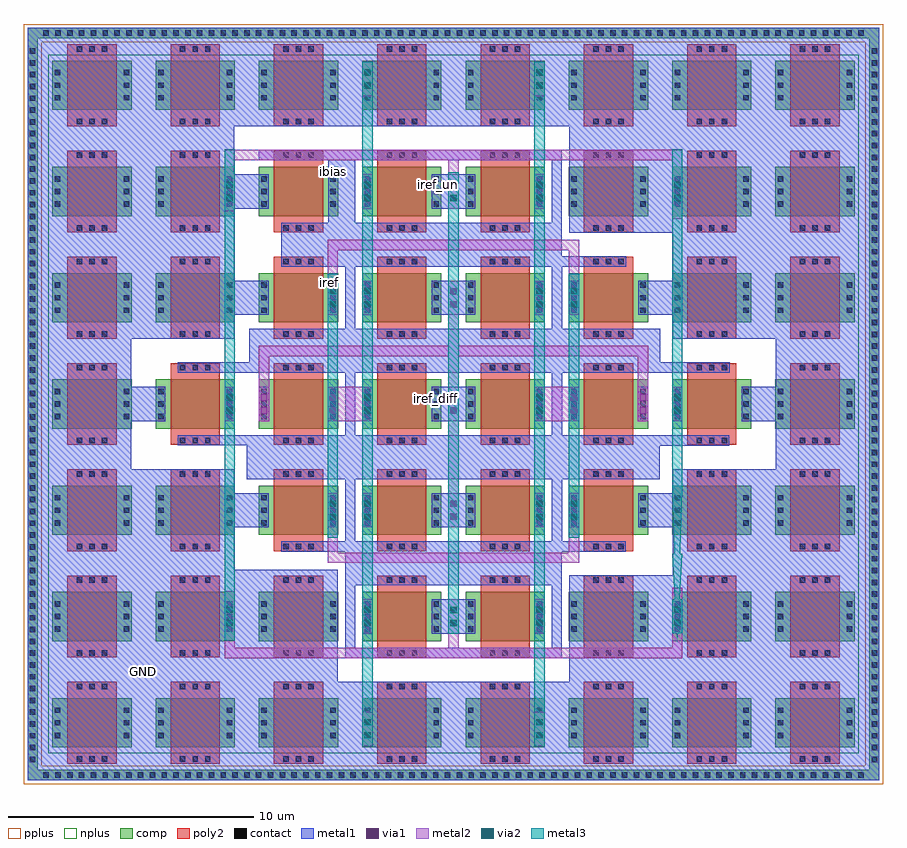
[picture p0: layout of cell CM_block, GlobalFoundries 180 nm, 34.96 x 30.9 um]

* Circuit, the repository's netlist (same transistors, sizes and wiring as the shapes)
** sch_path: /home/gmaranhao/Desktop/Bracolin/Voltage_Reference/LDO/CM_block.sch
.subckt CM_block ibias iref_un iref_diff iref
*.PININFO ibias:B iref:B iref_un:B iref_diff:B
M4[1] iref_un ibias GND GND nfet_03v3 L=2u W=2u nf=1 m=1
M4[2] iref_un ibias GND GND nfet_03v3 L=2u W=2u nf=1 m=1
M4[3] iref_un ibias GND GND nfet_03v3 L=2u W=2u nf=1 m=1
M4[4] iref_un ibias GND GND nfet_03v3 L=2u W=2u nf=1 m=1
M4[5] iref_un ibias GND GND nfet_03v3 L=2u W=2u nf=1 m=1
M4[6] iref_un ibias GND GND nfet_03v3 L=2u W=2u nf=1 m=1
M1[1] iref_diff ibias GND GND nfet_03v3 L=2u W=2u nf=1 m=1
M1[2] iref_diff ibias GND GND nfet_03v3 L=2u W=2u nf=1 m=1
M1[3] iref_diff ibias GND GND nfet_03v3 L=2u W=2u nf=1 m=1
M1[4] iref_diff ibias GND GND nfet_03v3 L=2u W=2u nf=1 m=1
M1[5] iref_diff ibias GND GND nfet_03v3 L=2u W=2u nf=1 m=1
M1[6] iref_diff ibias GND GND nfet_03v3 L=2u W=2u nf=1 m=1
M1[7] iref_diff ibias GND GND nfet_03v3 L=2u W=2u nf=1 m=1
M1[8] iref_diff ibias GND GND nfet_03v3 L=2u W=2u nf=1 m=1
M2[1] iref ibias GND GND nfet_03v3 L=2u W=2u nf=1 m=1
M2[2] iref ibias GND GND nfet_03v3 L=2u W=2u nf=1 m=1
M2[3] iref ibias GND GND nfet_03v3 L=2u W=2u nf=1 m=1
M2[4] iref ibias GND GND nfet_03v3 L=2u W=2u nf=1 m=1
M5 ibias ibias GND GND nfet_03v3 L=2u W=2u nf=1 m=1
M3[1] GND GND GND GND nfet_03v3 L=2u W=2u nf=1 m=1
M3[2] GND GND GND GND nfet_03v3 L=2u W=2u nf=1 m=1
M3[3] GND GND GND GND nfet_03v3 L=2u W=2u nf=1 m=1
M3[4] GND GND GND GND nfet_03v3 L=2u W=2u nf=1 m=1
M3[5] GND GND GND GND nfet_03v3 L=2u W=2u nf=1 m=1
M3[6] GND GND GND GND nfet_03v3 L=2u W=2u nf=1 m=1
M3[7] GND GND GND GND nfet_03v3 L=2u W=2u nf=1 m=1
M3[8] GND GND GND GND nfet_03v3 L=2u W=2u nf=1 m=1
M3[9] GND GND GND GND nfet_03v3 L=2u W=2u nf=1 m=1
M3[10] GND GND GND GND nfet_03v3 L=2u W=2u nf=1 m=1
M3[11] GND GND GND GND nfet_03v3 L=2u W=2u nf=1 m=1
M3[12] GND GND GND GND nfet_03v3 L=2u W=2u nf=1 m=1
M3[13] GND GND GND GND nfet_03v3 L=2u W=2u nf=1 m=1
M3[14] GND GND GND GND nfet_03v3 L=2u W=2u nf=1 m=1
M3[15] GND GND GND GND nfet_03v3 L=2u W=2u nf=1 m=1
M3[16] GND GND GND GND nfet_03v3 L=2u W=2u nf=1 m=1
M3[17] GND GND GND GND nfet_03v3 L=2u W=2u nf=1 m=1
M3[18] GND GND GND GND nfet_03v3 L=2u W=2u nf=1 m=1
M3[19] GND GND GND GND nfet_03v3 L=2u W=2u nf=1 m=1
M3[20] GND GND GND GND nfet_03v3 L=2u W=2u nf=1 m=1
M3[21] GND GND GND GND nfet_03v3 L=2u W=2u nf=1 m=1
M3[22] GND GND GND GND nfet_03v3 L=2u W=2u nf=1 m=1
M3[23] GND GND GND GND nfet_03v3 L=2u W=2u nf=1 m=1
M3[24] GND GND GND GND nfet_03v3 L=2u W=2u nf=1 m=1
M3[25] GND GND GND GND nfet_03v3 L=2u W=2u nf=1 m=1
M3[26] GND GND GND GND nfet_03v3 L=2u W=2u nf=1 m=1
M3[27] GND GND GND GND nfet_03v3 L=2u W=2u nf=1 m=1
M3[28] GND GND GND GND nfet_03v3 L=2u W=2u nf=1 m=1
M3[29] GND GND GND GND nfet_03v3 L=2u W=2u nf=1 m=1
M3[30] GND GND GND GND nfet_03v3 L=2u W=2u nf=1 m=1
M3[31] GND GND GND GND nfet_03v3 L=2u W=2u nf=1 m=1
M3[32] GND GND GND GND nfet_03v3 L=2u W=2u nf=1 m=1
M3[33] GND GND GND GND nfet_03v3 L=2u W=2u nf=1 m=1
M3[34] GND GND GND GND nfet_03v3 L=2u W=2u nf=1 m=1
M3[35] GND GND GND GND nfet_03v3 L=2u W=2u nf=1 m=1
M3[36] GND GND GND GND nfet_03v3 L=2u W=2u nf=1 m=1
M3[37] GND GND GND GND nfet_03v3 L=2u W=2u nf=1 m=1
.ends
.GLOBAL GND
.end

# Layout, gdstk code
from math import pi, radians
import gdstk
lib = gdstk.Library(unit=1e-6, precision=1e-09)
def R(c, l, rs):  # rectangles x0, y0, x1, y1
    for r in rs: c.add(gdstk.rectangle(r[:2], r[2:], *l))
def A(c, l, x, y, w, h, nx, ny, dx, dy):  # array of equal rectangles
    R(c, l, [(x+i*dx, y+j*dy, x+i*dx+w, y+j*dy+h) for i in range(nx) for j in range(ny)])
comp = (22, 0)
poly2 = (30, 0)
pplus = (31, 0)
nplus = (32, 0)
contact = (33, 0)
metal1 = (34, 0)
via1 = (35, 0)
metal2 = (36, 0)
via2 = (38, 0)
metal3 = (42, 0)

nfet = lib.new_cell('nfet')
R(nfet, comp, [(-0.42,0,0,2), (0,0,2.38,2), (2.38,0,2.8,2)])
R(nfet, poly2, [(0.19,-0.66,2.19,-0.3), (0.19,-0.3,2.19,2.3), (0.19,2.3,2.19,2.66)])
R(nfet, nplus, [(-0.59,-0.24,2.97,2.24)])
A(nfet, contact, 0.57, -0.59, 0.22, 0.22, 3, 2, 0.51, 2.96)
A(nfet, contact, -0.32, 0.38, 0.22, 0.22, 1, 3, 0, 0.51)
A(nfet, contact, 2.48, 0.38, 0.22, 0.22, 1, 3, 0, 0.51)
R(nfet, metal1, [(0.49,-0.67,1.89,-0.29), (-0.4,0.3,-0.02,1.7), (2.4,0.3,2.78,1.7), (0.49,2.29,1.89,2.67)])

via_dev_4 = lib.new_cell('via_dev$4')
R(via_dev_4, comp, [(0,0,0.42,29.64)])
A(via_dev_4, contact, 0.1, 0.31, 0.22, 0.22, 1, 61, 0, 0.48)
R(via_dev_4, metal1, [(0,0,0.42,29.64)])

via_dev_2 = lib.new_cell('via_dev$2')
R(via_dev_2, comp, [(0,0,33.8,0.42)])
A(via_dev_2, contact, 0.23, 0.1, 0.22, 0.22, 70, 1, 0.48, 0)
R(via_dev_2, metal1, [(0,0,33.8,0.42)])

via_dev = lib.new_cell('via_dev')
R(via_dev, metal1, [(0,0,0.42,1.4)])
R(via_dev, via1, [(0.08,0.305,0.34,0.565), (0.08,0.835,0.34,1.095)])
R(via_dev, metal2, [(0,0,0.42,1.4)])
R(via_dev, via2, [(0.08,0.305,0.34,0.565), (0.08,0.835,0.34,1.095)])
R(via_dev, metal3, [(0,0,0.42,1.4)])

via_dev_6 = lib.new_cell('via_dev$6')
R(via_dev_6, metal1, [(0,0,0.42,1.4)])
R(via_dev_6, via1, [(0.08,0.305,0.34,0.565), (0.08,0.835,0.34,1.095)])
R(via_dev_6, metal2, [(0,0,0.42,1.4)])

via_dev_5 = lib.new_cell('via_dev$5')
R(via_dev_5, metal2, [(0,0,0.42,1.4)])
R(via_dev_5, via2, [(0.08,0.305,0.34,0.565), (0.08,0.835,0.34,1.095)])
R(via_dev_5, metal3, [(0,0,0.42,1.4)])

cm_block = lib.new_cell('CM_block')
R(cm_block, comp, [(-1.09,-27.4,-0.67,-26.98), (33.13,-27.4,33.55,-26.98), (-1.09,2.66,-0.67,3.18), (33.13,2.66,33.55,3.18)])
R(cm_block, nplus, [(-0.25,-26.31,32.71,2.09)])
A(cm_block, metal1, 15.565, -17.13, 1.325, 1.4, 1, 3, 0, 4.32)
R(cm_block, metal1, [(-1.09,-27.4,-0.67,-26.98), (33.13,-27.4,33.55,-26.98), (-0.78,-27.21,33.37,-23.4), (20.94,-24.72,25.92,-19.08), (25.14,-24.68,32.31,-14.76), (1.635,-24.6,11.52,-18.85), (-0.945,-24.32,3.12,-0.43), (29.34,-24.32,33.405,-0.43), (15.525,-21.45,16.97,-20.05), (11.82,-19.485,20.64,-17.7), (2.355,-19.25,7.32,-14.76), (7.115,-17.13,8.44,-15.73), (24.03,-17.13,25.355,-15.73), (7.815,-15.165,24.615,-13.38), (2.92,-12.81,4.245,-11.41), (28.08,-12.81,29.405,-11.41), (7.935,-10.84,24.635,-9.055), (1.44,-9.46,7.32,0.865), (25.14,-9.46,31.99,-4.87), (7.115,-8.49,8.44,-7.09), (24.03,-8.49,25.355,-7.09), (9.22,-6.525,20.64,-4.74), (20.94,-5.14,31.71,0.68), (11.14,-4.82,11.99,-2.06), (7.185,-4.17,8.565,-2.77), (15.525,-4.17,16.97,-2.77), (-0.78,-0.82,33.44,2.97), (-1.09,2.66,-0.67,3.18), (33.13,2.66,33.55,3.18)])
R(cm_block, metal2, [(11.195,-12.81,12.71,-11.41), (19.65,-12.81,21.165,-11.41)])
cm_block.add(gdstk.FlexPath([(16.235,-2.82),(16.235,-1.99),(7.13,-1.99),(7.13,-4.27)], 0.42, ends="flush", simple_path=True, layer=36, datatype=0))  # metal2
cm_block.add(gdstk.FlexPath([(16.235,-1.99),(25.33,-1.99),(25.33,-4.585)], 0.42, ends="flush", simple_path=True, layer=36, datatype=0))  # metal2
cm_block.add(gdstk.FlexPath([(16.235,-22.23),(25.33,-22.23),(25.33,-19.58)], 0.42, ends="flush", simple_path=True, layer=36, datatype=0))  # metal2
cm_block.add(gdstk.FlexPath([(16.235,-20.725),(16.235,-22.23),(7.13,-22.23),(7.13,-19.725)], 0.42, ends="flush", simple_path=True, layer=36, datatype=0))  # metal2
cm_block.add(gdstk.FlexPath([(8.32,-9.95),(24.14,-9.95)], 0.42, ends="flush", simple_path=True, layer=36, datatype=0))  # metal2
cm_block.add(gdstk.FlexPath([(23.93,-11.835),(23.93,-9.95)], 0.42, ends="flush", simple_path=True, layer=36, datatype=0))  # metal2
cm_block.add(gdstk.FlexPath([(8.53,-11.835),(8.53,-9.95)], 0.42, ends="flush", simple_path=True, layer=36, datatype=0))  # metal2
cm_block.add(gdstk.FlexPath([(16.235,-7.775),(16.235,-17.085)], 0.42, ends="flush", simple_path=True, layer=36, datatype=0))  # metal2
cm_block.add(gdstk.FlexPath([(11.32,-17.085),(11.32,-18.36),(21.13,-18.36),(21.13,-16.99)], 0.42, ends="flush", simple_path=True, layer=36, datatype=0))  # metal2
cm_block.add(gdstk.FlexPath([(11.32,-7.3),(11.32,-5.64),(21.13,-5.64),(21.13,-7.29)], 0.42, ends="flush", simple_path=True, layer=36, datatype=0))  # metal2
cm_block.add(gdstk.FlexPath([(7.13,-21.745),(7.13,-1.745)], 0.42, ends="flush", simple_path=True, layer=42, datatype=0))  # metal3
cm_block.add(gdstk.FlexPath([(12.73,1.805),(12.73,-4.2)], 0.42, ends="flush", simple_path=True, layer=42, datatype=0))  # metal3
cm_block.add(gdstk.FlexPath([(19.73,1.805),(19.73,-4.21)], 0.42, ends="flush", simple_path=True, layer=42, datatype=0))  # metal3
cm_block.add(gdstk.FlexPath([(16.235,-21.45),(16.235,-2.695)], 0.42, ends="flush", simple_path=True, layer=42, datatype=0))  # metal3
cm_block.add(gdstk.FlexPath([(19.73,-17.55),(19.73,-6.81)], 0.42, ends="flush", simple_path=True, layer=42, datatype=0))  # metal3
cm_block.add(gdstk.FlexPath([(21.13,-17.55),(21.13,-6.81)], 0.42, ends="flush", simple_path=True, layer=42, datatype=0))  # metal3
cm_block.add(gdstk.FlexPath([(25.33,-18.19),(25.33,-21.775),(25.33,-15.58),(25.33,-1.745)], 0.42, ends="flush", simple_path=True, layer=42, datatype=0))  # metal3
cm_block.add(gdstk.FlexPath([(12.73,-17.55),(12.73,-6.81)], 0.42, ends="flush", simple_path=True, layer=42, datatype=0))  # metal3
cm_block.add(gdstk.FlexPath([(12.73,-20.31),(12.73,-3.63)], 0.42, ends="flush", simple_path=True, layer=42, datatype=0))  # metal3
cm_block.add(gdstk.FlexPath([(19.73,-20.45),(19.73,-3.545)], 0.42, ends="flush", simple_path=True, layer=42, datatype=0))  # metal3
cm_block.add(gdstk.FlexPath([(12.73,-20.04),(12.73,-26.045)], 0.42, ends="flush", simple_path=True, layer=42, datatype=0))  # metal3
cm_block.add(gdstk.FlexPath([(19.73,-20.04),(19.73,-26.055)], 0.42, ends="flush", simple_path=True, layer=42, datatype=0))  # metal3
cm_block.add(gdstk.FlexPath([(11.32,-17.55),(11.32,-6.81)], 0.42, ends="flush", simple_path=True, layer=42, datatype=0))  # metal3
cm_block.add(gdstk.FlexPath([(12.17,-1.99),(8.31,-1.99)], 0.42, ends="flush", simple_path=True, layer=34, datatype=0))  # metal1
cm_block.add(gdstk.FlexPath([(23.23,-17.91),(9.23,-17.91)], 0.42, ends="flush", simple_path=True, layer=34, datatype=0))  # metal1
cm_block.add(gdstk.FlexPath([(12.035,-14.76),(12.035,-18.05)], 0.42, ends="flush", simple_path=True, layer=34, datatype=0))  # metal1
cm_block.add(gdstk.FlexPath([(20.435,-14.905),(20.435,-17.935)], 0.42, ends="flush", simple_path=True, layer=34, datatype=0))  # metal1
cm_block.add(gdstk.FlexPath([(27.455,-10.63),(24.4,-10.63)], 0.42, ends="flush", simple_path=True, layer=34, datatype=0))  # metal1
cm_block.add(gdstk.FlexPath([(12.035,-6.12),(12.035,-9.41)], 0.42, ends="flush", simple_path=True, layer=34, datatype=0))  # metal1
cm_block.add(gdstk.FlexPath([(20.435,-6.27),(20.435,-9.3)], 0.42, ends="flush", simple_path=True, layer=34, datatype=0))  # metal1
cm_block.add(gdstk.FlexPath([(12.035,-10.315),(12.035,-13.605)], 0.42, ends="flush", simple_path=True, layer=34, datatype=0))  # metal1
cm_block.add(gdstk.FlexPath([(20.435,-10.465),(20.435,-13.495)], 0.42, ends="flush", simple_path=True, layer=34, datatype=0))  # metal1
cm_block.add(gdstk.FlexPath([(14.475,-19.27),(20.43,-19.27),(20.43,-22.23),(12.03,-22.23),(12.03,-19.27),(14.895,-19.27)], 0.42, ends="flush", simple_path=True, layer=34, datatype=0))  # metal1
cm_block.add(gdstk.FlexPath([(14.475,-1.99),(20.43,-1.99),(20.43,-4.95),(12.03,-4.95),(12.03,-1.99),(14.895,-1.99)], 0.42, ends="flush", simple_path=True, layer=34, datatype=0))  # metal1
cm_block.add(gdstk.FlexPath([(12.03,-4.95),(9.22,-4.95)], 0.42, ends="flush", simple_path=True, layer=34, datatype=0))  # metal1
cm_block.add(gdstk.FlexPath([(20.295,-6.31),(23.25,-6.31)], 0.42, ends="flush", simple_path=True, layer=34, datatype=0))  # metal1
cm_block.add(gdstk.FlexPath([(5.015,-13.585),(7.955,-13.585)], 0.42, ends="flush", simple_path=True, layer=34, datatype=0))  # metal1
cm_block.add(gdstk.FlexPath([(27.445,-13.59),(24.22,-13.59)], 0.42, ends="flush", simple_path=True, layer=34, datatype=0))  # metal1
cm_block.add(gdstk.FlexPath([(5.02,-10.63),(8.175,-10.63)], 0.42, ends="flush", simple_path=True, layer=34, datatype=0))  # metal1
cm_block.add(gdstk.FlexPath([(33.71,2.97),(-0.59,2.97)], 0.74, ends="flush", simple_path=True, layer=31, datatype=0))  # pplus
cm_block.add(gdstk.FlexPath([(33.34,3.12),(33.34,-27.56)], 0.74, ends="flush", simple_path=True, layer=31, datatype=0))  # pplus
cm_block.add(gdstk.FlexPath([(33.26,-27.19),(-0.615,-27.19)], 0.74, ends="flush", simple_path=True, layer=31, datatype=0))  # pplus
cm_block.add(gdstk.FlexPath([(-0.88,3.34),(-0.88,-27.56)], 0.74, ends="flush", simple_path=True, layer=31, datatype=0))  # pplus
cm_block.add(gdstk.Reference(nfet, (0.34,-13.11)))
cm_block.add(gdstk.Reference(nfet, (4.54,-13.11)))
cm_block.add(gdstk.Reference(nfet, (8.74,-13.11)))
cm_block.add(gdstk.Reference(nfet, (17.14,-13.11)))
cm_block.add(gdstk.Reference(nfet, (12.94,-13.11)))
cm_block.add(gdstk.Reference(nfet, (21.34,-13.11)))
cm_block.add(gdstk.Reference(nfet, (25.54,-13.11)))
cm_block.add(gdstk.Reference(nfet, (29.74,-13.11)))
cm_block.add(gdstk.Reference(via_dev_4, (-0.67,2.66), rotation=pi))
cm_block.add(gdstk.Reference(via_dev_2, (33.13,3.18), rotation=pi))
cm_block.add(gdstk.Reference(via_dev_4, (33.55,2.66), rotation=pi))
cm_block.add(gdstk.Reference(via_dev_2, (33.13,-26.98), rotation=pi))
cm_block.add(gdstk.Reference(via_dev, (7.34,-11.41), rotation=pi))
cm_block.add(gdstk.Reference(via_dev, (25.54,-11.41), rotation=pi))
cm_block.add(gdstk.Reference(via_dev, (16.445,-20.05), rotation=pi))
cm_block.add(gdstk.Reference(via_dev, (16.445,-2.77), rotation=pi))
cm_block.add(gdstk.Reference(via_dev, (19.94,-11.41), rotation=pi))
cm_block.add(gdstk.Reference(via_dev, (19.94,-11.41), rotation=pi))
cm_block.add(gdstk.Reference(via_dev, (19.94,-11.41), rotation=pi))
cm_block.add(gdstk.Reference(via_dev, (19.94,-11.41), rotation=pi))
cm_block.add(gdstk.Reference(via_dev, (12.94,-11.41), rotation=pi))
cm_block.add(gdstk.Reference(via_dev, (12.94,-11.41), rotation=pi))
cm_block.add(gdstk.Reference(via_dev, (12.94,-11.41), rotation=pi))
cm_block.add(gdstk.Reference(via_dev, (12.94,-11.41), rotation=pi))
cm_block.add(gdstk.Reference(via_dev_6, (21.34,-11.41), rotation=pi))
cm_block.add(gdstk.Reference(via_dev_6, (11.53,-11.41), rotation=pi))
cm_block.add(gdstk.Reference(via_dev_6, (8.74,-11.41), rotation=pi))
cm_block.add(gdstk.Reference(via_dev_6, (24.14,-11.41), rotation=pi))
cm_block.add(gdstk.Reference(via_dev_6, (16.445,-11.41), rotation=pi))
cm_block.add(gdstk.Reference(via_dev_6, (16.445,-7.09), rotation=pi))
cm_block.add(gdstk.Reference(via_dev_6, (16.445,-15.73), rotation=pi))
cm_block.add(gdstk.Reference(via_dev, (21.34,-7.09), rotation=pi))
cm_block.add(gdstk.Reference(via_dev, (19.94,-7.09), rotation=pi))
cm_block.add(gdstk.Reference(via_dev, (19.94,-7.09), rotation=pi))
cm_block.add(gdstk.Reference(via_dev, (19.94,-7.09), rotation=pi))
cm_block.add(gdstk.Reference(via_dev, (19.94,-7.09), rotation=pi))
cm_block.add(gdstk.Reference(nfet, (21.34,-4.47)))
cm_block.add(gdstk.Reference(nfet, (25.54,-4.47)))
cm_block.add(gdstk.Reference(nfet, (29.74,-0.15)))
cm_block.add(gdstk.Reference(nfet, (29.74,-4.47)))
cm_block.add(gdstk.Reference(nfet, (17.14,-0.15)))
cm_block.add(gdstk.Reference(nfet, (17.14,-4.47)))
cm_block.add(gdstk.Reference(nfet, (17.14,-8.79)))
cm_block.add(gdstk.Reference(nfet, (21.34,-8.79)))
cm_block.add(gdstk.Reference(via_dev, (19.94,1.805), rotation=pi))
cm_block.add(gdstk.Reference(nfet, (25.54,-8.79)))
cm_block.add(gdstk.Reference(nfet, (21.34,-0.15)))
cm_block.add(gdstk.Reference(nfet, (29.74,-8.79)))
cm_block.add(gdstk.Reference(nfet, (25.54,-0.15)))
cm_block.add(gdstk.Reference(via_dev_5, (25.54,-2.77), rotation=pi))
cm_block.add(gdstk.Reference(via_dev, (19.94,-2.77), rotation=pi))
cm_block.add(gdstk.Reference(via_dev, (21.34,-7.09), rotation=pi))
cm_block.add(gdstk.Reference(nfet, (0.34,-8.79)))
cm_block.add(gdstk.Reference(nfet, (12.94,-8.79)))
cm_block.add(gdstk.Reference(nfet, (4.54,-8.79)))
cm_block.add(gdstk.Reference(nfet, (0.34,-4.47)))
cm_block.add(gdstk.Reference(nfet, (4.54,-4.47)))
cm_block.add(gdstk.Reference(nfet, (8.74,-0.15)))
cm_block.add(gdstk.Reference(nfet, (0.34,-0.15)))
cm_block.add(gdstk.Reference(via_dev, (11.53,-7.09), rotation=pi))
cm_block.add(gdstk.Reference(nfet, (12.94,-0.15)))
cm_block.add(gdstk.Reference(via_dev_5, (7.34,-2.77), rotation=pi))
cm_block.add(gdstk.Reference(nfet, (8.74,-4.47)))
cm_block.add(gdstk.Reference(via_dev, (12.94,-2.77), rotation=pi))
cm_block.add(gdstk.Reference(via_dev, (12.94,1.805), rotation=pi))
cm_block.add(gdstk.Reference(nfet, (4.54,-0.15)))
cm_block.add(gdstk.Reference(nfet, (12.94,-4.47)))
cm_block.add(gdstk.Reference(via_dev, (12.94,-7.09), rotation=pi))
cm_block.add(gdstk.Reference(via_dev, (12.94,-7.09), rotation=pi))
cm_block.add(gdstk.Reference(via_dev, (12.94,-7.09), rotation=pi))
cm_block.add(gdstk.Reference(via_dev, (12.94,-7.09), rotation=pi))
cm_block.add(gdstk.Reference(nfet, (8.74,-8.79)))
cm_block.add(gdstk.Reference(nfet, (4.54,-17.43)))
cm_block.add(gdstk.Reference(nfet, (0.34,-17.43)))
cm_block.add(gdstk.Reference(via_dev_5, (7.34,-20.04), rotation=pi))
cm_block.add(gdstk.Reference(nfet, (4.54,-21.75)))
cm_block.add(gdstk.Reference(nfet, (8.74,-17.43)))
cm_block.add(gdstk.Reference(nfet, (8.74,-21.75)))
cm_block.add(gdstk.Reference(nfet, (0.34,-21.75)))
cm_block.add(gdstk.Reference(via_dev, (12.94,-15.73), rotation=pi))
cm_block.add(gdstk.Reference(via_dev, (12.94,-15.73), rotation=pi))
cm_block.add(gdstk.Reference(via_dev, (12.94,-24.615), rotation=pi))
cm_block.add(gdstk.Reference(via_dev, (12.94,-20.04), rotation=pi))
cm_block.add(gdstk.Reference(nfet, (12.94,-21.75)))
cm_block.add(gdstk.Reference(nfet, (0.34,-26.07)))
cm_block.add(gdstk.Reference(via_dev, (12.94,-15.73), rotation=pi))
cm_block.add(gdstk.Reference(via_dev, (12.94,-15.73), rotation=pi))
cm_block.add(gdstk.Reference(nfet, (4.54,-26.07)))
cm_block.add(gdstk.Reference(nfet, (8.74,-26.07)))
cm_block.add(gdstk.Reference(nfet, (12.94,-26.07)))
cm_block.add(gdstk.Reference(via_dev, (11.53,-15.73), rotation=pi))
cm_block.add(gdstk.Reference(nfet, (12.94,-17.43)))
cm_block.add(gdstk.Reference(via_dev, (21.34,-15.73), rotation=pi))
cm_block.add(gdstk.Reference(nfet, (17.14,-26.07)))
cm_block.add(gdstk.Reference(nfet, (17.14,-21.75)))
cm_block.add(gdstk.Reference(nfet, (21.34,-26.07)))
cm_block.add(gdstk.Reference(nfet, (25.54,-26.07)))
cm_block.add(gdstk.Reference(nfet, (29.74,-26.07)))
cm_block.add(gdstk.Reference(nfet, (29.74,-17.43)))
cm_block.add(gdstk.Reference(nfet, (21.34,-21.75)))
cm_block.add(gdstk.Reference(via_dev, (19.94,-24.615), rotation=pi))
cm_block.add(gdstk.Reference(nfet, (25.54,-21.75)))
cm_block.add(gdstk.Reference(via_dev, (19.94,-20.04), rotation=pi))
cm_block.add(gdstk.Reference(nfet, (29.74,-21.75)))
cm_block.add(gdstk.Reference(nfet, (21.34,-17.43)))
cm_block.add(gdstk.Reference(via_dev, (19.94,-15.73), rotation=pi))
cm_block.add(gdstk.Reference(via_dev, (19.94,-15.73), rotation=pi))
cm_block.add(gdstk.Reference(via_dev_5, (25.54,-20.04), rotation=pi))
cm_block.add(gdstk.Reference(nfet, (17.14,-17.43)))
cm_block.add(gdstk.Reference(via_dev, (19.94,-15.73), rotation=pi))
cm_block.add(gdstk.Reference(via_dev, (19.94,-15.73), rotation=pi))
cm_block.add(gdstk.Reference(nfet, (25.54,-17.43)))
cm_block.add(gdstk.Reference(via_dev, (21.34,-15.73), rotation=pi))
cm_block.add(gdstk.Label('GND', (3.645,-22.985), layer=34, texttype=10))
cm_block.add(gdstk.Label('ibias', (11.37,-2.665), layer=34, texttype=10))
cm_block.add(gdstk.Label('iref', (11.185,-7.15), layer=34, texttype=10))
cm_block.add(gdstk.Label('iref_un', (15.6,-3.19), layer=34, texttype=10))
cm_block.add(gdstk.Label('iref_diff', (15.485,-11.875), layer=34, texttype=10))

lib.write_gds('CM_block.gds')
